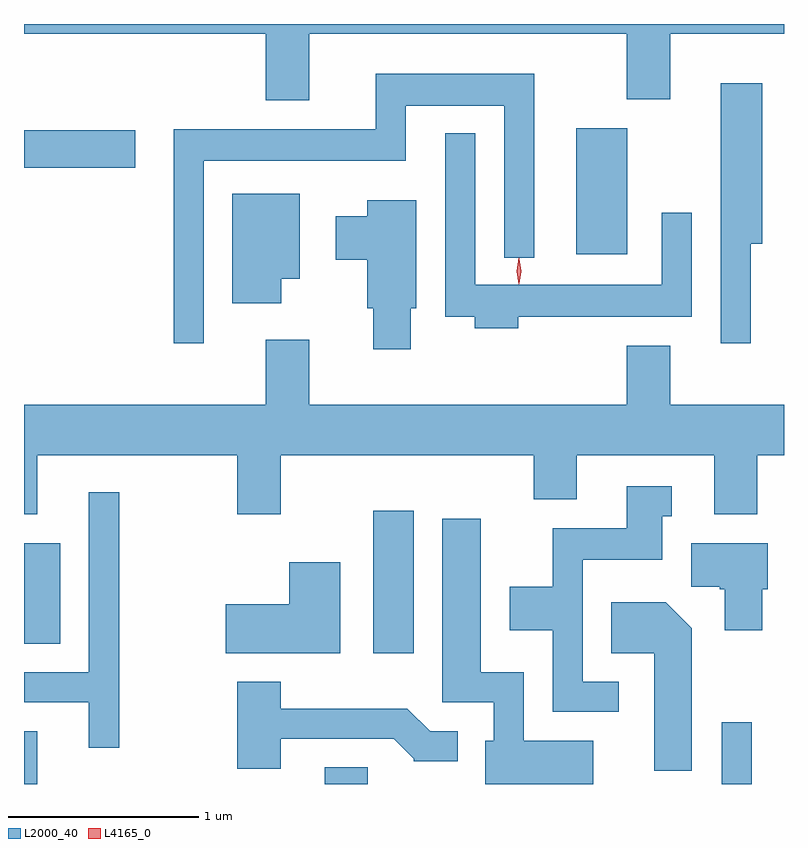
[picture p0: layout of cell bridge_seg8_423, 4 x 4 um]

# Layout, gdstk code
import gdstk
lib = gdstk.Library(unit=1e-6, precision=1e-09)
def R(c, l, rs):  # rectangles x0, y0, x1, y1
    for r in rs: c.add(gdstk.rectangle(r[:2], r[2:], *l))
def P(c, l, *ps):  # polygons
    for p in ps: c.add(gdstk.Polygon(p, *l))
L2000_40 = (2000, 40)
L4165_0 = (4165, 0)

bridge_seg8_423 = lib.new_cell('bridge_seg8_423')
R(bridge_seg8_423, L2000_40, [(877.979,1848.007,878.049,1848.284), (879.561,1848.007,879.789,1848.094), (881.651,1848.007,881.809,1848.333), (879.816,1848.696,880.029,1849.444), (877.979,1848.746,878.169,1849.274), (880.886,1850.796,881.154,1851.459), (877.979,1851.251,878.564,1851.449)])
P(bridge_seg8_423, L2000_40, [(877.979,1851.956),(879.251,1851.956),(879.251,1851.606),(879.479,1851.606),(879.479,1851.956),(881.151,1851.956),(881.151,1851.611),(881.379,1851.611),(881.379,1851.956),(881.979,1851.956),(881.979,1852.007),(877.979,1852.007)],
  [(878.924,1851.286),(879.989,1851.286),(879.989,1851.576),(880.506,1851.576),(880.506,1850.778),(880.664,1850.778),(880.664,1851.744),(879.831,1851.744),(879.831,1851.454),(878.766,1851.454),(878.766,1850.328),(878.924,1850.328)],
  [(881.804,1850.851),(881.864,1850.851),(881.864,1851.694),(881.646,1851.694),(881.646,1850.328),(881.804,1850.328)],
  [(880.579,1850.466),(881.494,1850.466),(881.494,1851.013),(881.336,1851.013),(881.336,1850.634),(880.354,1850.634),(880.354,1851.433),(880.196,1851.433),(880.196,1850.466),(880.351,1850.466),(880.351,1850.406),(880.579,1850.406)],
  [(879.334,1850.666),(879.429,1850.666),(879.429,1851.114),(879.076,1851.114),(879.076,1850.536),(879.334,1850.536)],
  [(880.014,1850.511),(880.044,1850.511),(880.044,1851.079),(879.786,1851.079),(879.786,1850.994),(879.621,1850.994),(879.621,1850.766),(879.786,1850.766),(879.786,1850.511),(879.816,1850.511),(879.816,1850.296),(880.014,1850.296)],
  [(878.049,1849.736),(879.101,1849.736),(879.101,1849.426),(879.329,1849.426),(879.329,1849.736),(880.661,1849.736),(880.661,1849.506),(880.889,1849.506),(880.889,1849.736),(881.611,1849.736),(881.611,1849.426),(881.839,1849.426),(881.839,1849.736),(881.979,1849.736),(881.979,1850.004),(881.379,1850.004),(881.379,1850.314),(881.151,1850.314),(881.151,1850.004),(879.479,1850.004),(879.479,1850.344),(879.251,1850.344),(879.251,1850.004),(877.979,1850.004),(877.979,1849.426),(878.049,1849.426)],
  [(881.108,1848.544),(880.919,1848.544),(880.919,1849.186),(881.339,1849.186),(881.339,1849.416),(881.388,1849.416),(881.388,1849.574),(881.151,1849.574),(881.151,1849.354),(880.761,1849.354),(880.761,1849.044),(880.536,1849.044),(880.536,1848.816),(880.761,1848.816),(880.761,1848.386),(881.108,1848.386)],
  [(878.479,1849.543),(878.321,1849.543),(878.321,1848.594),(877.979,1848.594),(877.979,1848.436),(878.321,1848.436),(878.321,1848.198),(878.479,1848.198)],
  [(880.974,1848.234),(880.609,1848.234),(880.609,1848.594),(880.384,1848.594),(880.384,1849.404),(880.181,1849.404),(880.181,1848.436),(880.451,1848.436),(880.451,1848.234),(880.406,1848.234),(880.406,1848.007),(880.974,1848.007)],
  [(881.864,1849.031),(881.894,1849.031),(881.894,1849.274),(881.491,1849.274),(881.491,1849.046),(881.64,1849.046),(881.64,1849.031),(881.666,1849.031),(881.666,1848.816),(881.864,1848.816)],
  [(879.644,1849.174),(879.376,1849.174),(879.376,1848.954),(879.041,1848.954),(879.041,1848.696),(879.644,1848.696)],
  [(881.494,1848.827),(881.357,1848.964),(881.071,1848.964),(881.071,1848.696),(881.296,1848.696),(881.296,1848.076),(881.494,1848.076)],
  [(879.329,1848.246),(879.924,1848.246),(880.03,1848.14),(880.03,1848.126),(880.263,1848.126),(880.263,1848.284),(880.117,1848.284),(879.997,1848.404),(879.329,1848.404),(879.329,1848.544),(879.101,1848.544),(879.101,1848.086),(879.329,1848.086)])
P(bridge_seg8_423, L4165_0, [(880.582,1850.637),(880.582,1850.637),(880.572,1850.707),(880.582,1850.776),(880.582,1850.776),(880.583,1850.776),(880.592,1850.707),(880.583,1850.637)],
  [(880.585,1850.639),(880.585,1850.64),(880.575,1850.706),(880.584,1850.772),(880.585,1850.773),(880.585,1850.772),(880.595,1850.706),(880.586,1850.64)])

lib.write_gds('bridge_seg8_423.gds')
